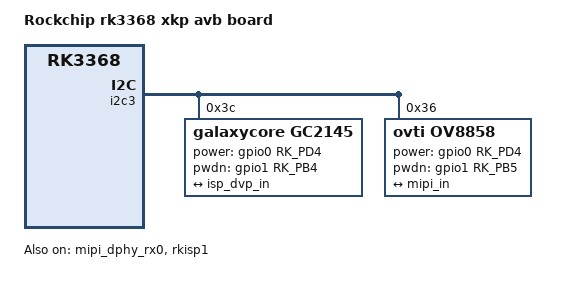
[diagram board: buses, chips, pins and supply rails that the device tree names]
// SPDX-License-Identifier: (GPL-2.0+ OR MIT)
/*
 * Copyright (c) 2017 Fuzhou Rockchip Electronics Co., Ltd
 */

/dts-v1/;
#include "rk3368-xikp.dtsi"

/ {
	model = "Rockchip rk3368 xkp avb board";
	compatible = "rockchip,xkp-avb", "rockchip,rk3368";
};

&firmware_android {
	compatible = "android,firmware";
	boot_devices = "ff0f0000.dwmmc,ff400000.nandc";
	vbmeta {
		compatible = "android,vbmeta";
		parts = "vbmeta,dtbo";
	};
	fstab {
		compatible = "android,fstab";
		vendor {
			compatible = "android,vendor";
			dev = "/dev/block/by-name/vendor";
			type = "ext4";
			mnt_flags = "ro,barrier=1,inode_readahead_blks=8";
			fsmgr_flags = "wait,avb";
		};
	};
};

&chosen {
	bootargs = "earlycon=uart8250,mmio32,0xff690000 console=ttyFIQ0 androidboot.baseband=N/A androidboot.veritymode=enforcing androidboot.hardware=rk30board androidboot.console=ttyFIQ0 androidboot.selinux=permissive init=/init kpti=0";
};

&i2c3 {
	status = "okay";

	gc2145: gc2145@3c {
		compatible = "galaxycore,gc2145";
		reg = <0x3c>;
		clocks = <&cru SCLK_VIP_OUT>;
		clock-names = "xvclk";

		power-gpio = <&gpio0 RK_PD4 GPIO_ACTIVE_HIGH>;
		pwdn-gpios = <&gpio1 RK_PB4 GPIO_ACTIVE_HIGH>;
		rockchip,camera-module-index = <1>;
		rockchip,camera-module-facing = "front";
		rockchip,camera-module-name = "CameraKing";
		rockchip,camera-module-lens-name = "Largan";
		port {
			gc2145_out: endpoint {
				remote-endpoint = <&isp_dvp_in>;
			};
		};
	};

	ov8858: ov8858@36 {
		compatible = "ovti,ov8858";
		reg = <0x36>;
		clocks = <&cru SCLK_VIP_OUT>;
		clock-names = "xvclk";

		rockchip,camera-module-index = <0>;
		rockchip,camera-module-facing = "back";
		rockchip,camera-module-name = "CameraKing";
		rockchip,camera-module-lens-name = "Largan-9569A2";
		power-gpio = <&gpio0 RK_PD4 GPIO_ACTIVE_HIGH>;
		pwdn-gpios = <&gpio1 RK_PB5 GPIO_ACTIVE_HIGH>;
		port {
			ov8858_out: endpoint {
				remote-endpoint = <&mipi_in>;
				data-lanes = <1 2>;
			};
		};
	};

};

&isp {
	status = "disabled";
};

&isp_mmu {
	status = "okay";
};

&mipi_dphy_rx0 {
	status = "okay";

	ports {
		#address-cells = <1>;
		#size-cells = <0>;

		port@0 {
			reg = <0>;
			#address-cells = <1>;
			#size-cells = <0>;

			mipi_in: endpoint@1 {
				reg = <1>;
				remote-endpoint = <&ov8858_out>;
				data-lanes = <1 2>;
			};
		};

		port@1 {
			reg = <1>;
			#address-cells = <1>;
			#size-cells = <0>;

			dphy_rx_out: endpoint@0 {
				reg = <0>;
				remote-endpoint = <&isp_mipi_in>;
			};
		};
	};
};

&rkisp1 {
	status = "okay";
	pinctrl-names = "default";
	pinctrl-0 = <&isp_dvp_d2d9 &isp_dvp_d10d11 &cif_clkout>;
	port {
		#address-cells = <1>;
		#size-cells = <0>;

		isp_dvp_in: endpoint@1 {
			reg = <1>;
			remote-endpoint = <&gc2145_out>;
		};

		isp_mipi_in: endpoint@0 {
			reg = <0>;
			remote-endpoint = <&dphy_rx_out>;
		};
	};
};
